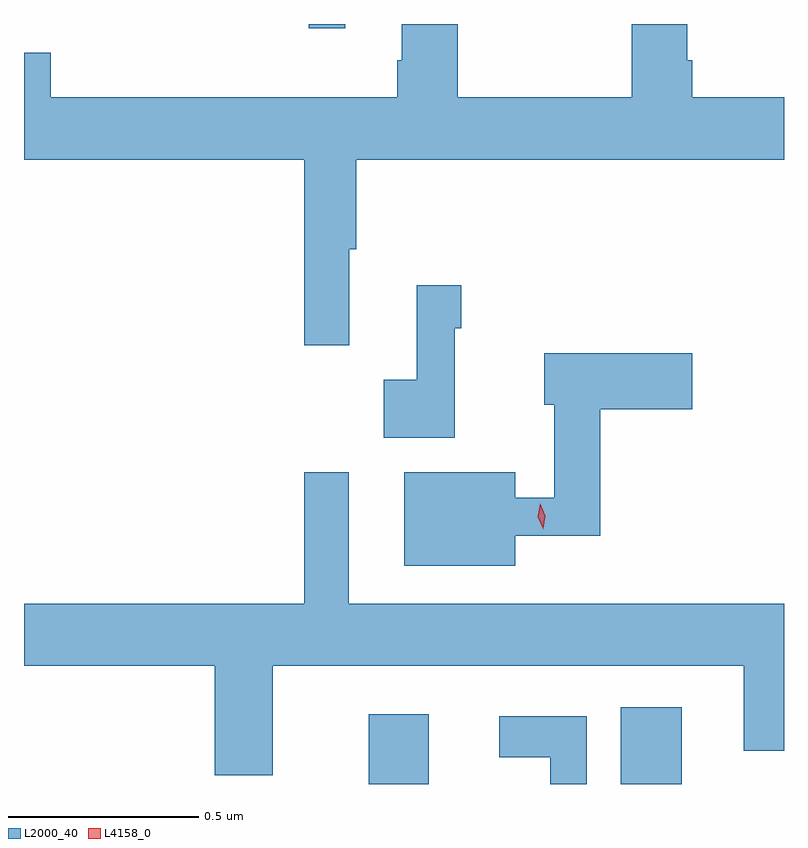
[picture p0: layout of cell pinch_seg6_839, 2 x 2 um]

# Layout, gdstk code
import gdstk
lib = gdstk.Library(unit=1e-6, precision=1e-09)
def R(c, l, rs):  # rectangles x0, y0, x1, y1
    for r in rs: c.add(gdstk.rectangle(r[:2], r[2:], *l))
def P(c, l, *ps):  # polygons
    for p in ps: c.add(gdstk.Polygon(p, *l))
L2000_40 = (2000, 40)
L4158_0 = (4158, 0)

pinch_seg6_839 = lib.new_cell('pinch_seg6_839')
R(pinch_seg6_839, L2000_40, [(218.384,968.337,218.542,968.521), (219.047,968.337,219.208,968.539), (218.226,970.326,218.323,970.337)])
P(pinch_seg6_839, L2000_40, [(218.333,969.744),(218.351,969.744),(218.351,969.98),(219.477,969.98),(219.477,970.144),(219.236,970.144),(219.236,970.242),(219.223,970.242),(219.223,970.337),(219.076,970.337),(219.076,970.144),(218.619,970.144),(218.619,970.337),(218.471,970.337),(218.471,970.242),(218.459,970.242),(218.459,970.144),(217.547,970.144),(217.547,970.261),(217.477,970.261),(217.477,969.98),(218.215,969.98),(218.215,969.492),(218.333,969.492)],
  [(218.61,969.536),(218.627,969.536),(218.627,969.649),(218.51,969.649),(218.51,969.401),(218.424,969.401),(218.424,969.248),(218.61,969.248)],
  [(218.77,968.99),(218.993,968.99),(218.993,969.323),(219.235,969.323),(219.235,969.47),(218.846,969.47),(218.846,969.335),(218.872,969.335),(218.872,969.09),(218.77,969.09),(218.77,969.157),(218.477,969.157),(218.477,968.912),(218.77,968.912)],
  [(218.131,968.648),(219.371,968.648),(219.371,968.424),(219.477,968.424),(219.477,968.812),(218.332,968.812),(218.332,969.157),(218.215,969.157),(218.215,968.812),(217.477,968.812),(217.477,968.648),(217.979,968.648),(217.979,968.36),(218.131,968.36)],
  [(218.958,968.515),(218.727,968.515),(218.727,968.408),(218.862,968.408),(218.862,968.337),(218.958,968.337)])
P(pinch_seg6_839, L4158_0, [(218.843,969.008),(218.843,969.009),(218.829,969.04),(218.835,969.074),(218.835,969.075),(218.835,969.074),(218.849,969.043),(218.843,969.009)])

lib.write_gds('pinch_seg6_839.gds')
